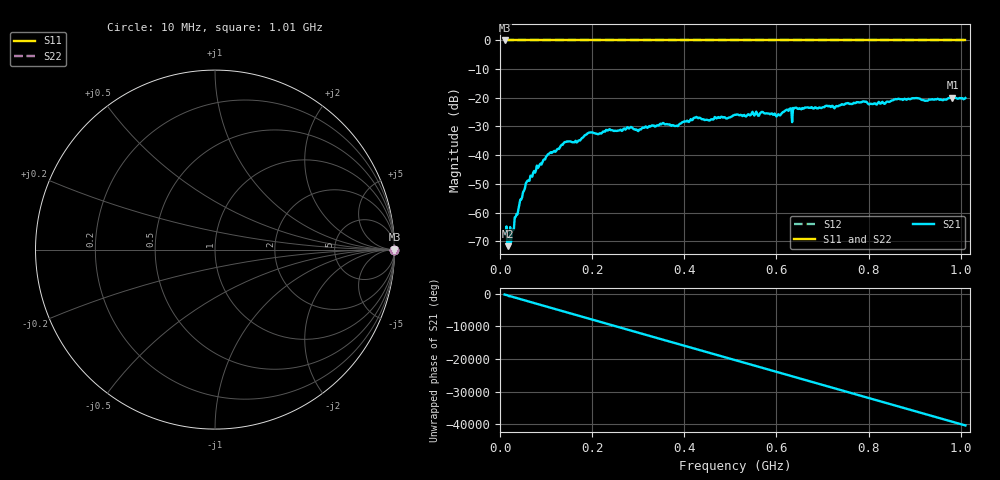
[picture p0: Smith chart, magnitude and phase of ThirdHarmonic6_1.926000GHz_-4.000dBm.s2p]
! 8/16/2025 11:12:55 PM
! C:\ANRITSUVNA\TEMP\TEMP.S2P
! CHANNEL.1
! TR.MEASUREMENT
! RAW.DATA
! RF.CORRECTION.OFF
! AVERAGING.OFF
! IF.BANDWIDTH: 5KHZ
! SWEEPTYPE:  FREQ.SWEEP(Linear)
! Reference Plane Port Info
! PORT:  PORT1  PORT2
! DISTANCE:  0  m  0  m
! TIME:  0  s  0  s
! PHASE.OFFSET:  0  deg.  0  deg.
! LOSS:  0  dB  0  dB
! REF.LOSS:  0  dB  0  dB
! REF.FREQ:  0  Hz  0  Hz
! Power Info
! POWER:  -20  dBm  -20  dBm
! EFF.POWER:  -20  dBm  -20  dBm
! SOURCE.ATTEN:  0  dB  0  dB
! TEST.ATTEN:  0  dB  0  dB
# GHZ S RI R 50.0
! FREQ.GHZ  S11RE  S11IM  S21RE  S21IM  S12RE  S12IM  S22RE  S22IM
!; PortSelection: Port_12
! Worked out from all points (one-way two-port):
!   501 points, 10 MHz to 1.01 GHz, reference 50 ohm
!   highest |S21| = -19.91 dB at 982 MHz (marker M1); lowest = -71.7 dB at 18 MHz (marker M2)
!   lowest |S11| = 0.0 dB at 10 MHz (marker M3)
!   |S11| at or under -10 dB: nowhere
!   |S22| runs from 0.0 to 0.0 dB; largest |S21 - S12| = 1.1
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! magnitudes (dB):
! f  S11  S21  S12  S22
! 10 MHz  0.0  -67.1  0.0  0.0
! 16 MHz  0.0  -71.6  0.0  0.0
! 18 MHz  0.0  -71.7  0.0  0.0
! 20 MHz  0.0  -71.7  0.0  0.0
! 28 MHz  0.0  -66.0  0.0  0.0
! 54 MHz  0.0  -51.6  0.0  0.0
! 76 MHz  0.0  -46.1  0.0  0.0
! 106 MHz  0.0  -39.5  0.0  0.0
! 142 MHz  0.0  -35.4  0.0  0.0
! 178 MHz  0.0  -34.0  0.0  0.0
! 196 MHz  0.0  -32.1  0.0  0.0
! 344 MHz  0.0  -29.7  0.0  0.0
! 382 MHz  0.0  -29.8  0.0  0.0
! 424 MHz  0.0  -26.9  0.0  0.0
! 452 MHz  0.0  -27.8  0.0  0.0
! 510 MHz  0.0  -25.9  0.0  0.0
! 604 MHz  0.0  -25.7  0.0  0.0
! 640 MHz  0.0  -23.5  0.0  0.0
! 678 MHz  0.0  -23.5  0.0  0.0
! 844 MHz  0.0  -21.5  0.0  0.0
! 982 MHz  0.0  -19.9  0.0  0.0
! 1.01 GHz  0.0  -20.1  0.0  0.0
